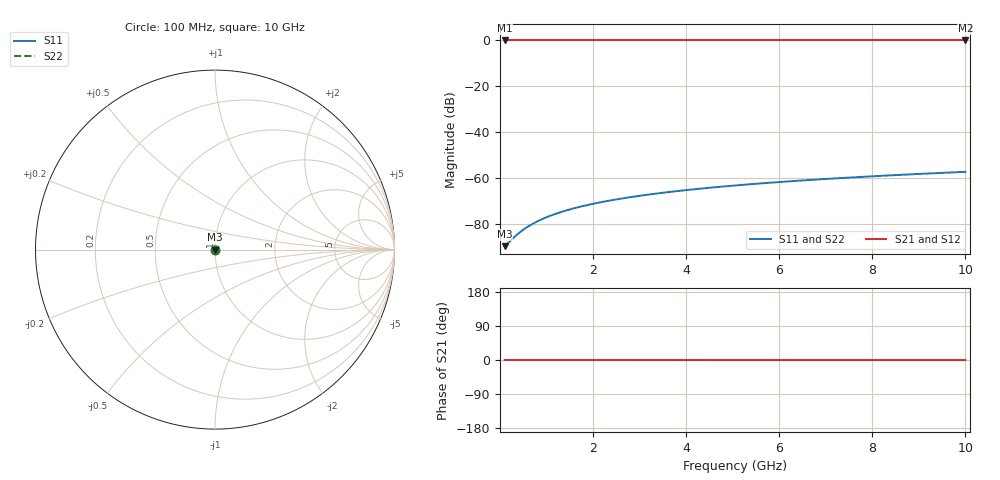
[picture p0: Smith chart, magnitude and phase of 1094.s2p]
# Hz S RI R 50.00
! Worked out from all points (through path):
!   100 points, 100 MHz to 10 GHz, reference 50 ohm
!   highest |S21| = 0.00 dB at 100 MHz (marker M1); lowest = 0.0 dB at 10 GHz (marker M2)
!   lowest |S11| = -89.7 dB at 100 MHz (marker M3), VSWR 1.00, Z = 50 + j0.00136 ohm
!   |S11| at or under -10 dB: start of sweep to end of sweep
!   |S22| runs from -89.7 to -57.3 dB; largest |S21 - S12| = 1e-16
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1e8  2.97e-05 1.36e-05  1 -3.49e-05  1 -3.49e-05  2.97e-05 1.36e-05
7e8  3.04e-05 9.52e-05  1 -0.000244  1 -0.000244  3.04e-05 9.52e-05
8e8  3.05e-05 0.000109  1 -0.000279  1 -0.000279  3.05e-05 0.000109
9e8  3.06e-05 0.000122  1 -0.000314  1 -0.000314  3.06e-05 0.000122
1e9  3.06e-05 0.000136  1 -0.000349  1 -0.000349  3.06e-05 0.000136
1.2e9  3.07e-05 0.000163  1 -0.000418  1 -0.000418  3.07e-05 0.000163
1.3e9  3.08e-05 0.000177  1 -0.000453  1 -0.000453  3.08e-05 0.000177
1.5e9  3.09e-05 0.000204  1 -0.000523  1 -0.000523  3.09e-05 0.000204
1.8e9  3.11e-05 0.000245  1 -0.000628  1 -0.000628  3.11e-05 0.000245
2.1e9  3.12e-05 0.000286  1 -0.000732  1 -0.000732  3.12e-05 0.000286
2.5e9  3.15e-05 0.00034  1 -0.000872  1 -0.000872  3.15e-05 0.00034
2.9e9  3.17e-05 0.000394  1 -0.00101  1 -0.00101  3.17e-05 0.000394
3.4e9  3.2e-05 0.000462  1 -0.00119  1 -0.00119  3.2e-05 0.000462
3.8e9  3.22e-05 0.000517  1 -0.00133  1 -0.00133  3.22e-05 0.000517
4.2e9  3.25e-05 0.000571  1 -0.00147  1 -0.00147  3.25e-05 0.000571
4.6e9  3.27e-05 0.000626  1 -0.00161  1 -0.00161  3.27e-05 0.000626
5.1e9  3.31e-05 0.000694  1 -0.00178  1 -0.00178  3.31e-05 0.000694
5.9e9  3.37e-05 0.000803  1 -0.00206  1 -0.00206  3.37e-05 0.000803
6.7e9  3.43e-05 0.000912  1 -0.00234  1 -0.00234  3.43e-05 0.000912
7.5e9  3.51e-05 0.00102  1 -0.00262  1 -0.00262  3.51e-05 0.00102
8.4e9  3.59e-05 0.00114  1 -0.00294  1 -0.00294  3.59e-05 0.00114
1e10  3.77e-05 0.00136  1 -0.0035  1 -0.0035  3.77e-05 0.00136
